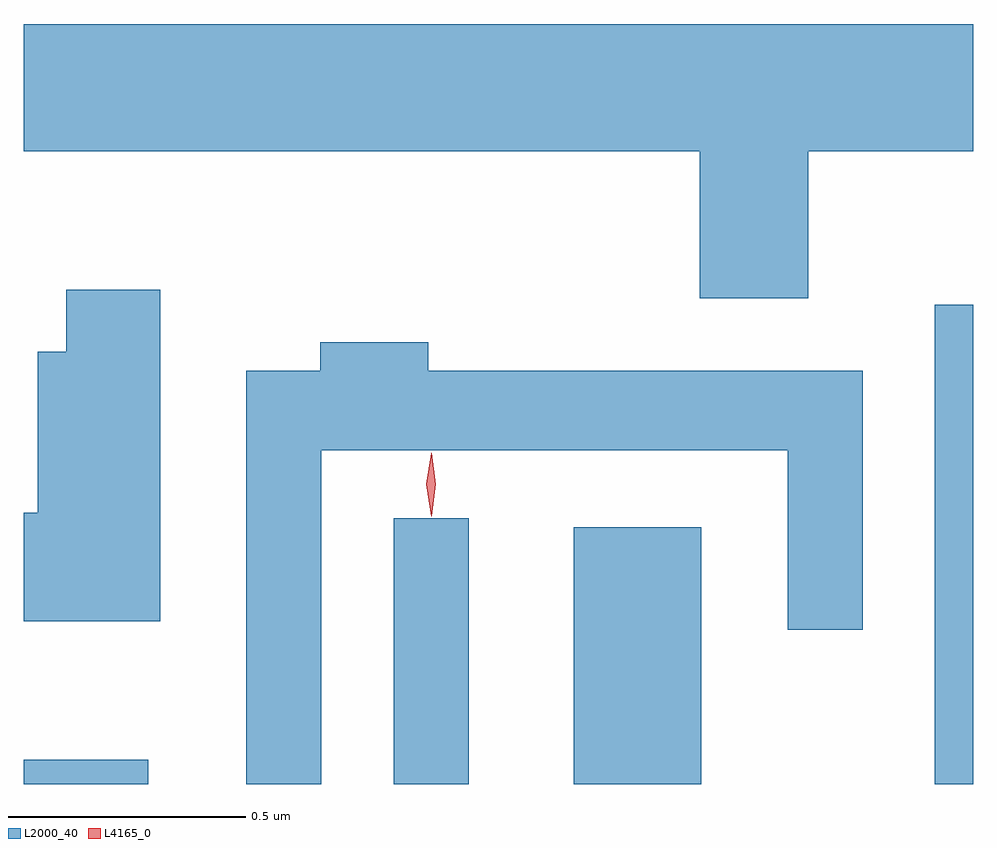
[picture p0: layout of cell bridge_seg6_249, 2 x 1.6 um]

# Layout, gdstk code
import gdstk
lib = gdstk.Library(unit=1e-6, precision=1e-09)
def R(c, l, rs):  # rectangles x0, y0, x1, y1
    for r in rs: c.add(gdstk.rectangle(r[:2], r[2:], *l))
def P(c, l, *ps):  # polygons
    for p in ps: c.add(gdstk.Polygon(p, *l))
L2000_40 = (2000, 40)
L4165_0 = (4165, 0)

bridge_seg6_249 = lib.new_cell('bridge_seg6_249')
R(bridge_seg6_249, L2000_40, [(1142.797,1550.923,1143.059,1550.974), (1143.576,1550.923,1143.734,1551.483), (1143.956,1550.923,1144.224,1551.464), (1144.716,1550.923,1144.797,1551.933)])
P(bridge_seg6_249, L2000_40, [(1144.449,1552.256),(1144.797,1552.256),(1144.797,1552.524),(1142.797,1552.524),(1142.797,1552.256),(1144.221,1552.256),(1144.221,1551.946),(1144.449,1551.946)],
  [(1143.084,1551.964),(1142.886,1551.964),(1142.886,1551.834),(1142.826,1551.834),(1142.826,1551.494),(1142.797,1551.494),(1142.797,1551.266),(1143.084,1551.266)],
  [(1143.424,1551.626),(1144.406,1551.626),(1144.406,1551.248),(1144.564,1551.248),(1144.564,1551.794),(1143.649,1551.794),(1143.649,1551.854),(1143.421,1551.854),(1143.421,1551.794),(1143.266,1551.794),(1143.266,1550.923),(1143.424,1550.923)])
P(bridge_seg6_249, L4165_0, [(1143.655,1551.487),(1143.655,1551.487),(1143.645,1551.554),(1143.655,1551.62),(1143.655,1551.621),(1143.656,1551.62),(1143.665,1551.554),(1143.656,1551.487)])

lib.write_gds('bridge_seg6_249.gds')
